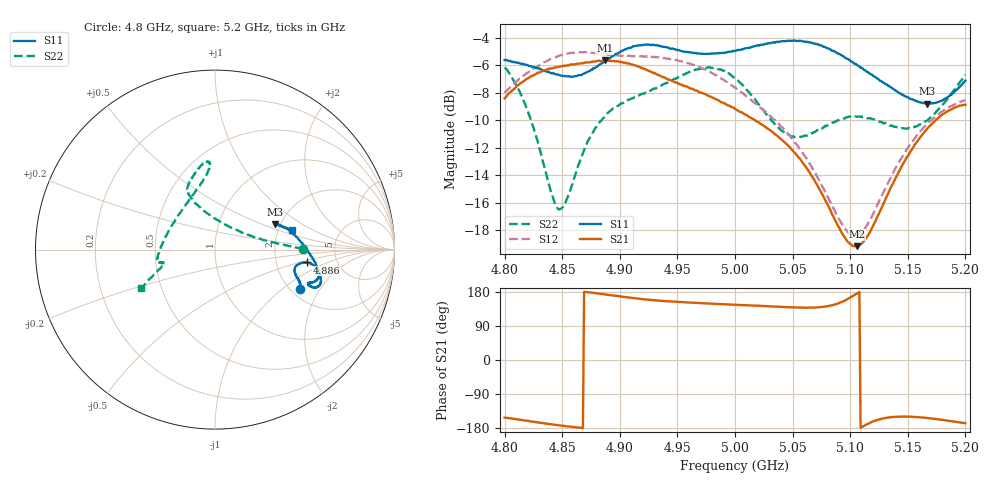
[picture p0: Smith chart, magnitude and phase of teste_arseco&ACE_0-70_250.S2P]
! Network Analyzer HP8722D
! Hewlett-Packard
! Data name: Linha & Wilkinson
! Saver's name: Rodrigo Anjos
! Comments: Teste da utilização de aquisição
! continua pelo VNA HP8722D
! Time and date: 8/5/2025 14:50
!  Frequency  S11  S21  S12  S22
# HZ  S  MA R 50
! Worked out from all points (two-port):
!   401 points, 4.8 GHz to 5.2 GHz, reference 50 ohm
!   highest |S21| = -5.63 dB at 4.887 GHz (marker M1); lowest = -19.2 dB at 5.106 GHz (marker M2)
!   |S21| within 3 dB of the highest: start of sweep to 4.987 GHz
!   lowest |S11| = -8.8 dB at 5.167 GHz (marker M3), VSWR 2.14, Z = 93.5 + j30.9 ohm
!   |S11| at or under -10 dB: nowhere
!   |S22| runs from -16.5 to -6.1 dB; largest |S21 - S12| = 1.1
!   S11 on the Smith chart (normalised r, x): 4.8 GHz: 2.24, -1.37; 4.886 GHz: 3.02, -0.59; 5.2 GHz: 2.36, +0.65
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4.8e9  0.5243 -25.0  0.3803 -152.1  0.3981 7.2  0.4924 0.5
4.82e9  0.5027 -20.4  0.4491 -160.6  0.4718 4.5  0.343 6.1
4.841e9  0.4686 -17.1  0.4891 -170.0  0.5299 1.1  0.1706 37.0
4.846e9  0.4646 -16.1  0.4947 -171.9  0.5406 0.1  0.1512 54.7
4.853e9  0.4585 -14.4  0.4996 -174.6  0.5517 -1.0  0.159 80.2
4.867e9  0.4637 -10.8  0.5102 -179.3  0.5591 -3.1  0.234 107.3
4.886e9  0.5183 -8.0  0.5209 173.7  0.5523 -4.1  0.3228 115.0
4.887e9  0.5183 -8.2  0.5232 173.2  0.5511 -4.0  0.3274 115.0
4.913e9  0.5896 -12.1  0.5021 162.7  0.541 -3.3  0.385 113.1
4.934e9  0.5916 -16.8  0.4614 156.4  0.5364 -4.1  0.4191 108.0
4.975e9  0.5528 -20.1  0.3921 149.3  0.4822 -7.6  0.491 95.4
5e9  0.5663 -20.8  0.3483 145.7  0.4178 -7.3  0.4515 94.1
5.042e9  0.6147 -18.9  0.2657 140.0  0.2951 0.4  0.2878 129.4
5.067e9  0.605 -14.1  0.1975 138.2  0.2125 8.5  0.2835 165.1
5.094e9  0.5418 -4.2  0.1205 154.9  0.1302 34.7  0.3213 -173.2
5.106e9  0.5031 1.4  0.1101 175.5  0.1204 58.1  0.3259 -169.3
5.116e9  0.472 6.6  0.1218 -167.5  0.1345 76.5  0.3216 -167.6
5.134e9  0.4212 15.6  0.1752 -151.5  0.1916 94.1  0.3034 -166.3
5.151e9  0.3817 21.4  0.2383 -149.6  0.2547 98.8  0.2965 -164.6
5.167e9  0.3634 23.2  0.2951 -153.2  0.3076 99.5  0.3163 -161.5
5.182e9  0.3784 20.9  0.3363 -158.9  0.3456 99.5  0.3674 -157.7
5.2e9  0.4411 14.6  0.3606 -166.8  0.3754 100.0  0.4635 -152.1
